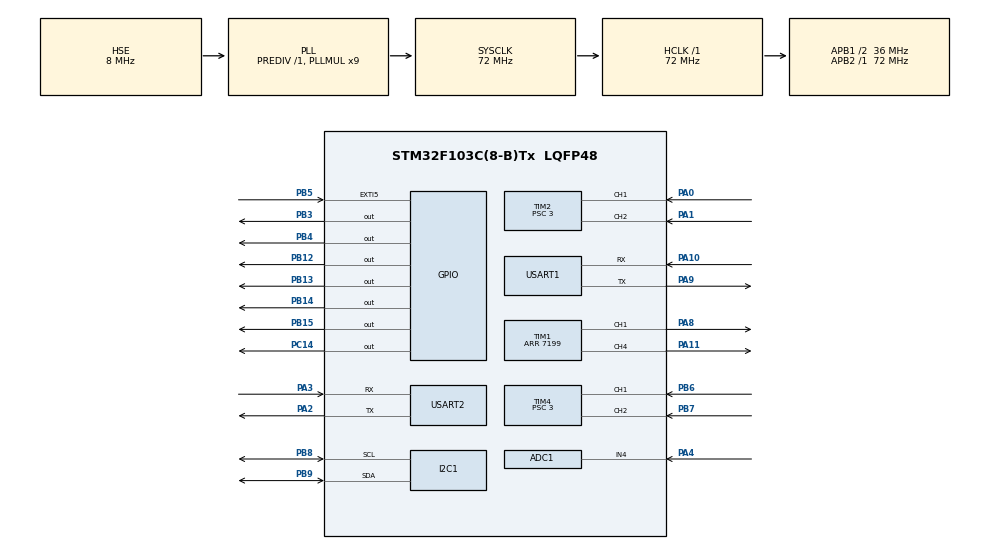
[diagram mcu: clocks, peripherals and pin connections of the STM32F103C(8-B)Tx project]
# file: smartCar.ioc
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ADC1.Channel-0\#ChannelRegularConversion=ADC_CHANNEL_4
ADC1.Channel-1\#ChannelInjectedConversion=ADC_CHANNEL_4
ADC1.ContinuousConvMode=ENABLE
ADC1.EnableInjectedConversion=ENABLE
ADC1.InjNumberOfConversion=1
ADC1.InjectedOffset-1\#ChannelInjectedConversion=0
ADC1.NbrOfConversionFlag=1
ADC1.Rank-0\#ChannelRegularConversion=1
ADC1.Rank-1\#ChannelInjectedConversion=1
ADC1.SamplingTime-0\#ChannelRegularConversion=ADC_SAMPLETIME_1CYCLE_5
ADC1.SamplingTime-1\#ChannelInjectedConversion=ADC_SAMPLETIME_1CYCLE_5
ADC1.master=1
I2C1.I2C_Mode=I2C_Fast
Mcu.Family=STM32F1
Mcu.Name=STM32F103C(8-B)Tx
Mcu.Package=LQFP48
NVIC.ADC1_2_IRQn=true\:0\:0\:false\:false\:true\:true\:true
NVIC.EXTI9_5_IRQn=true\:0\:0\:false\:false\:true\:true\:true
NVIC.PriorityGroup=NVIC_PRIORITYGROUP_4
NVIC.TIM3_IRQn=true\:0\:0\:false\:false\:true\:true\:true
NVIC.USART1_IRQn=true\:2\:0\:true\:false\:true\:true\:true
NVIC.USART2_IRQn=true\:2\:0\:true\:false\:true\:true\:true
PA0-WKUP.Signal=S_TIM2_CH1_ETR
PA1.Signal=S_TIM2_CH2
PA10.Mode=Asynchronous
PA10.Signal=USART1_RX
PA11.Signal=S_TIM1_CH4
PA2.Mode=Asynchronous
PA2.Signal=USART2_TX
PA3.Mode=Asynchronous
PA3.Signal=USART2_RX
PA4.Signal=ADCx_IN4
PA8.Signal=S_TIM1_CH1
PA9.Mode=Asynchronous
PA9.Signal=USART1_TX
PB12.Signal=GPIO_Output
PB13.PinState=GPIO_PIN_RESET
PB13.Signal=GPIO_Output
PB14.Signal=GPIO_Output
PB15.Signal=GPIO_Output
PB3.Signal=SharedStack_PB3
PB3.Stacked=true
PB4.Signal=GPIO_Output
PB5.GPIO_ModeDefaultEXTI=GPIO_MODE_IT_FALLING
PB5.GPIO_PuPd=GPIO_PULLUP
PB5.Signal=GPXTI5
PB6.Signal=S_TIM4_CH1
PB7.Signal=S_TIM4_CH2
PB8.Mode=I2C
PB8.Signal=I2C1_SCL
PB9.Mode=I2C
PB9.Signal=I2C1_SDA
PC14-OSC32_IN.GPIO_ModeDefaultOutputPP=GPIO_MODE_OUTPUT_PP
PC14-OSC32_IN.GPIO_Speed=GPIO_SPEED_FREQ_LOW
PC14-OSC32_IN.PinState=GPIO_PIN_RESET
PC14-OSC32_IN.Signal=GPIO_Output
PC14-OSC32_IN.Stacked=true
PD0-OSC_IN.Mode=HSE-External-Oscillator
PD0-OSC_IN.Signal=RCC_OSC_IN
PD1-OSC_OUT.Mode=HSE-External-Oscillator
PD1-OSC_OUT.Signal=RCC_OSC_OUT
ProjectManager.HeapSize=0x200
ProjectManager.StackSize=0x400
ProjectManager.TargetToolchain=MDK-ARM V5.27
RCC.ADCPresc=RCC_ADCPCLK2_DIV6
RCC.AHBFreq_Value=72000000
RCC.APB1CLKDivider=RCC_HCLK_DIV2
RCC.APB1Freq_Value=36000000
RCC.APB1TimFreq_Value=72000000
RCC.APB2Freq_Value=72000000
RCC.APB2TimFreq_Value=72000000
RCC.HCLKFreq_Value=72000000
RCC.PLLMUL=RCC_PLL_MUL9
RCC.PLLSourceVirtual=RCC_PLLSOURCE_HSE
RCC.SYSCLKFreq_VALUE=72000000
RCC.SYSCLKSource=RCC_SYSCLKSOURCE_PLLCLK
RCC.USBFreq_Value=72000000
SH.ADCx_IN4.0=ADC1_IN4,IN4
SH.S_TIM1_CH1.0=TIM1_CH1,PWM Generation1 CH1
SH.S_TIM1_CH4.0=TIM1_CH4,PWM Generation4 CH4
SH.S_TIM2_CH1_ETR.0=TIM2_CH1,Encoder_Interface
SH.S_TIM2_CH2.0=TIM2_CH2,Encoder_Interface
SH.S_TIM4_CH1.0=TIM4_CH1,Encoder_Interface
SH.S_TIM4_CH2.0=TIM4_CH2,Encoder_Interface
SH.SharedStack_PB3.0=GPIO_Output+0
SH.SharedStack_PB3.1=GPIO_Input
TIM1.AutoReloadPreload=TIM_AUTORELOAD_PRELOAD_ENABLE
TIM1.Channel-PWM\ Generation1\ CH1=TIM_CHANNEL_1
TIM1.Channel-PWM\ Generation4\ CH4=TIM_CHANNEL_4
TIM1.OCPolarity_1=TIM_OCPOLARITY_HIGH
TIM1.Period=7199
TIM2.ClockDivision=TIM_CLOCKDIVISION_DIV1
TIM2.EncoderMode=TIM_ENCODERMODE_TI12
TIM2.IC1Filter=15
TIM2.IC2Filter=15
TIM2.Prescaler=3
TIM3.AutoReloadPreload=TIM_AUTORELOAD_PRELOAD_ENABLE
TIM3.Period=99
TIM3.Prescaler=7199
TIM4.EncoderMode=TIM_ENCODERMODE_TI12
TIM4.IC1Filter=15
TIM4.IC2Filter=15
TIM4.Prescaler=3
USART1.VirtualMode=VM_ASYNC
USART2.VirtualMode=VM_ASYNC
VP_SYS_VS_ND.Mode=No_Debug
VP_TIM1_VS_ClockSourceINT.Mode=Internal
VP_TIM3_VS_ClockSourceINT.Mode=Internal
board=custom

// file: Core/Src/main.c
/* USER CODE BEGIN Header */
/**
  ******************************************************************************
  * @file           : main.c
  * @brief          : Main program body
  ******************************************************************************
  * @attention
  *
  * <h2><center>&copy; Copyright (c) 2021 STMicroelectronics.
  * All rights reserved.</center></h2>
  *
  * This software component is licensed by ST under BSD 3-Clause license,
  * the "License"; You may not use this file except in compliance with the
  * License. You may obtain a copy of the License at:
  *                        opensource.org/licenses/BSD-3-Clause
  *
  ******************************************************************************
  */
/* USER CODE END Header */
#include "main.h"
#include "adc.h"
#include "i2c.h"
#include "tim.h"
#include "usart.h"
#include "gpio.h"

/* USER CODE BEGIN Includes */
#include "sys.h"
/* USER CODE END Includes */

/* USER CODE BEGIN PD */

#define RXBUFFERSIZE  256
char RxBuffer[RXBUFFERSIZE];

/* USER CODE END PD */

/* USER CODE BEGIN PV */
// void EXTI9_5_IRQHandler(void);
/* USER CODE END PV */

void SystemClock_Config(void);
/* USER CODE BEGIN PFP */

void OLED_show(void);
/* USER CODE END PFP */

/* USER CODE BEGIN 0 */

/*****************************全局变量******************************************/
float Voltage;                                        //电池电压
float pitch,roll,yaw;                                 //欧拉角
short aacx,aacy,aacz;                                 //加速度传感器原始数据
short gyrox,gyroy,gyroz;                              //陀螺仪原始数据
uint32_t enc1,enc2;                                   //左右编码器的脉冲计数
int Moto1=0,Moto2=0;                                  //计算出来的最终结果赋值给电机的PWM
int Balance_Pwm=0,Velocity_Pwm=0,Turn_Pwm=0,Seek_Pwm=0;                //直立,速度，转向,差速循迹PWM
float Mechanical_angle=0;                             //机械中值
uint16_t ADC_Value=0;                                 //PA4 ADC1_IN5 AD采样值
uint8_t Light_Sens=0;                                 //0-100：0，最暗；100，最亮
/* OEPNMV用 */
///////////////////////////////////
uint8_t acom_data;                                    //每位接收的数据
uint8_t Uart2_RxCounter1=0;                           //接收缓冲计数
uint16_t Uart2_RxBuffer1[10]={0};                     //接收缓冲数组
uint8_t Uart2_RxState = 0;	                          //接收状态||1：第一个帧头0x2C；2：第二个帧头0x12；3：帧尾0x5B
uint8_t Uart2_RxFlag1 = 0;                            //接收状态||成功1，失败0

uint16_t Cx=160,Cy=0,Cw=0,Ch=0;                       //采集的图像信息
////////////////////////////////////

/* USER CODE END 0 */

int main(void)
{

  /* MCU Configuration--------------------------------------------------------*/

  /* Reset of all peripherals, Initializes the Flash interface and the Systick. */
  HAL_Init();

  /* Configure the system clock */
  SystemClock_Config();

  /* Initialize all configured peripherals */
  MX_GPIO_Init();
  MX_USART1_UART_Init();
  MX_TIM1_Init();
  MX_TIM2_Init();
  MX_TIM4_Init();
  MX_I2C1_Init();
  MX_TIM3_Init();
  MX_USART2_UART_Init();
  MX_ADC1_Init();
  /* USER CODE BEGIN 2 */

  ///////////////////////////////////////////初始化///////////////////////////////////////////////////
  HAL_TIM_PWM_Start(&htim1, TIM_CHANNEL_1);
  HAL_TIM_PWM_Start(&htim1, TIM_CHANNEL_4);                     //===使能PWM输出
  HAL_TIM_Encoder_Start(&htim2, TIM_CHANNEL_ALL);
  HAL_TIM_Encoder_Start(&htim4,TIM_CHANNEL_ALL);                //===打开encoder
  Motor_Init();                                                 //===电机初始化
  MPU_Init();                                                   //===MPU6050初始化
  mpu_dmp_init();                                               //===dmp初始化
  HAL_UART_Receive_IT(&huart2, (uint8_t *)&acom_data, 1);       //===openmv接收串口初始化
  HAL_ADCEx_Calibration_Start(&hadc1);                          //===AD校准
  OLED_init();                                                  //===OLED初始化
  HAL_TIM_Base_Start_IT(&htim3);                                //===打开核心控制
  ////////////////////////////////////////////////////////////////////////////////////////////////////

  OLED_operate_gram(PEN_CLEAR);
  OLED_refresh_gram();	                                        //===oled清屏，刷屏
  /* USER CODE END 2 */

  /* Infinite loop */
  while (1)
  {

    /* USER CODE BEGIN 3 */
    /* ADC */
    HAL_ADC_Start(&hadc1);                  //启动ADC转换
    HAL_ADC_PollForConversion(&hadc1,50);   //等待转换完成，50为最大等待时间，单位为ms
    /* oled */
    OLED_show();
    HAL_Delay(20);
  }
  /* USER CODE END 3 */
}

void SystemClock_Config(void)
{
  RCC_OscInitTypeDef RCC_OscInitStruct = {0};
  RCC_ClkInitTypeDef RCC_ClkInitStruct = {0};
  RCC_PeriphCLKInitTypeDef PeriphClkInit = {0};

  /** Initializes the RCC Oscillators according to the specified parameters
  * in the RCC_OscInitTypeDef structure.
  */
  RCC_OscInitStruct.OscillatorType = RCC_OSCILLATORTYPE_HSE;
  RCC_OscInitStruct.HSEState = RCC_HSE_ON;
  RCC_OscInitStruct.HSEPredivValue = RCC_HSE_PREDIV_DIV1;
  RCC_OscInitStruct.HSIState = RCC_HSI_ON;
  RCC_OscInitStruct.PLL.PLLState = RCC_PLL_ON;
  RCC_OscInitStruct.PLL.PLLSource = RCC_PLLSOURCE_HSE;
  RCC_OscInitStruct.PLL.PLLMUL = RCC_PLL_MUL9;
  if (HAL_RCC_OscConfig(&RCC_OscInitStruct) != HAL_OK)
  {
    Error_Handler();
  }
  /** Initializes the CPU, AHB and APB buses clocks
  */
  RCC_ClkInitStruct.ClockType = RCC_CLOCKTYPE_HCLK|RCC_CLOCKTYPE_SYSCLK
                              |RCC_CLOCKTYPE_PCLK1|RCC_CLOCKTYPE_PCLK2;
  RCC_ClkInitStruct.SYSCLKSource = RCC_SYSCLKSOURCE_PLLCLK;
  RCC_ClkInitStruct.AHBCLKDivider = RCC_SYSCLK_DIV1;
  RCC_ClkInitStruct.APB1CLKDivider = RCC_HCLK_DIV2;
  RCC_ClkInitStruct.APB2CLKDivider = RCC_HCLK_DIV1;

  if (HAL_RCC_ClockConfig(&RCC_ClkInitStruct, FLASH_LATENCY_2) != HAL_OK)
  {
    Error_Handler();
  }
  PeriphClkInit.PeriphClockSelection = RCC_PERIPHCLK_ADC;
  PeriphClkInit.AdcClockSelection = RCC_ADCPCLK2_DIV6;
  if (HAL_RCCEx_PeriphCLKConfig(&PeriphClkInit) != HAL_OK)
  {
    Error_Handler();
  }
}

/* USER CODE BEGIN 4 */

/* 备用PB5外部中断，以防定时器资源不足 */

// void EXTI9_5_IRQHandler(void)
// {
//   if(HAL_GPIO_ReadPin(GPIOB,GPIO_PIN_5))
//   {
//     EXTI->PR=1<<5;                    //===清除中断位标志
//     printf("\r\ntest_EXIT5\r\n");

//   }
// }

/* USER CODE END 4 */

void Error_Handler(void)
{
  __disable_irq();
  while (1)
  {
  }
}

/************************ (C) COPYRIGHT STMicroelectronics *****END OF FILE****/
